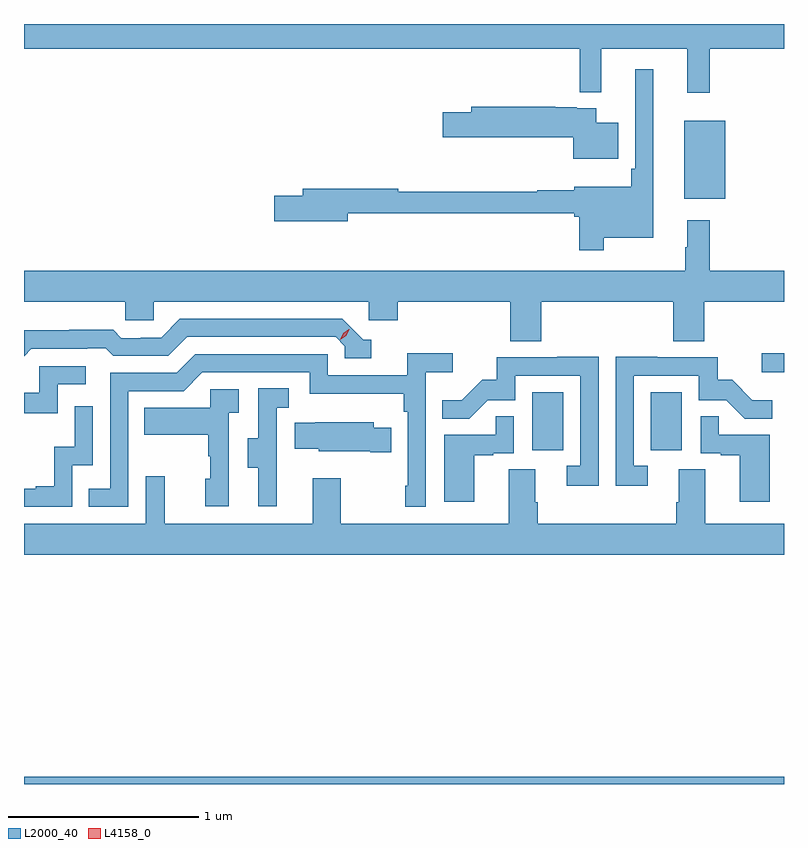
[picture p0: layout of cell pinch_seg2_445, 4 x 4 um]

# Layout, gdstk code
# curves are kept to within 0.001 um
import gdstk
lib = gdstk.Library(unit=1e-6, precision=1e-09)
def R(c, l, rs):  # rectangles x0, y0, x1, y1
    for r in rs: c.add(gdstk.rectangle(r[:2], r[2:], *l))
def P(c, l, *ps):  # polygons
    for p in ps: c.add(gdstk.Polygon(p, *l))
L2000_40 = (2000, 40)
L4158_0 = (4158, 0)

pinch_seg2_445 = lib.new_cell('pinch_seg2_445')
R(pinch_seg2_445, L2000_40, [(949.677,615.794,953.677,615.832), (952.352,617.55,952.516,617.857), (952.976,617.55,953.14,617.857), (953.559,617.96,953.677,618.062), (953.153,618.875,953.368,619.285)])
P(pinch_seg2_445, L2000_40, [(953.285,619.664),(953.677,619.664),(953.677,619.794),(949.677,619.794),(949.677,619.664),(952.601,619.664),(952.601,619.436),(952.715,619.436),(952.715,619.664),(953.168,619.664),(953.168,619.431),(953.285,619.431)],
  [(952.729,618.668),(952.99,618.668),(952.99,619.555),(952.893,619.555),(952.893,619.033),(952.873,619.033),(952.873,618.937),(952.574,618.937),(952.574,618.919),(952.378,618.919),(952.378,618.911),(951.647,618.911),(951.647,618.926),(951.143,618.926),(951.143,618.89),(950.994,618.89),(950.994,618.755),(951.382,618.755),(951.382,618.798),(952.574,618.798),(952.574,618.779),(952.6,618.779),(952.6,618.603),(952.729,618.603)],
  [(952.804,619.273),(952.69,619.273),(952.69,619.351),(952.586,619.351),(952.586,619.356),(952.472,619.356),(952.472,619.359),(952.031,619.359),(952.031,619.329),(951.882,619.329),(951.882,619.199),(952.568,619.199),(952.568,619.085),(952.804,619.085)],
  [(952.4,618.332),(953.093,618.332),(953.093,618.124),(953.258,618.124),(953.258,618.332),(953.677,618.332),(953.677,618.496),(953.285,618.496),(953.285,618.76),(953.168,618.76),(953.168,618.62),(953.157,618.62),(953.157,618.496),(949.677,618.496),(949.677,618.332),(950.211,618.332),(950.211,618.234),(950.361,618.234),(950.361,618.332),(951.492,618.332),(951.492,618.234),(951.644,618.234),(951.644,618.332),(952.235,618.332),(952.235,618.124),(952.4,618.124)],
  [(951.505,618.132),(951.462,618.132),(951.351,618.243),(950.498,618.243),(950.399,618.144),(950.292,618.144),(950.292,618.141),(950.189,618.141),(950.147,618.184),(949.914,618.184),(949.914,618.181),(949.678,618.181),(949.677,618.045),(949.716,618.084),(950.009,618.084),(950.009,618.087),(950.108,618.087),(950.147,618.048),(950.436,618.048),(950.535,618.147),(951.318,618.147),(951.366,618.099),(951.366,618.036),(951.505,618.036)],
  [(950.226,617.862),(950.517,617.862),(950.616,617.961),(951.18,617.961),(951.18,617.849),(951.676,617.849),(951.676,617.753),(951.696,617.753),(951.696,617.365),(951.684,617.365),(951.684,617.253),(951.792,617.253),(951.792,617.96),(951.934,617.96),(951.934,618.062),(951.695,618.062),(951.695,617.946),(951.276,617.946),(951.276,618.057),(950.579,618.057),(950.48,617.958),(950.13,617.958),(950.13,617.349),(950.017,617.349),(950.017,617.253),(950.226,617.253)],
  [(952.701,618.044),(952.483,618.044),(952.483,618.039),(952.165,618.039),(952.165,617.922),(952.088,617.922),(951.981,617.815),(951.877,617.815),(951.877,617.716),(952.021,617.716),(952.119,617.814),(952.263,617.814),(952.263,617.943),(952.605,617.943),(952.605,617.469),(952.533,617.469),(952.533,617.364),(952.701,617.364)],
  [(952.96,617.469),(952.887,617.469),(952.887,617.943),(953.229,617.943),(953.229,617.814),(953.373,617.814),(953.471,617.716),(953.615,617.716),(953.615,617.815),(953.511,617.815),(953.404,617.922),(953.328,617.922),(953.328,618.039),(953.009,618.039),(953.009,618.044),(952.791,618.044),(952.791,617.364),(952.96,617.364)],
  [(949.854,617.898),(950.002,617.898),(950.002,617.994),(949.758,617.994),(949.758,617.853),(949.677,617.853),(949.677,617.745),(949.854,617.745)],
  [(951.008,617.469),(951.006,617.469),(951.006,617.773),(951.07,617.773),(951.07,617.876),(950.91,617.876),(950.91,617.613),(950.855,617.613),(950.855,617.458),(950.909,617.458),(950.909,617.256),(951.008,617.256)],
  [(950.754,617.747),(950.806,617.747),(950.806,617.871),(950.658,617.871),(950.658,617.773),(950.311,617.773),(950.311,617.633),(950.646,617.633),(950.646,617.519),(950.656,617.519),(950.656,617.4),(950.63,617.4),(950.63,617.256),(950.754,617.256)],
  [(949.932,617.472),(950.04,617.472),(950.04,617.782),(949.944,617.782),(949.944,617.57),(949.835,617.57),(949.835,617.362),(949.739,617.362),(949.739,617.349),(949.677,617.349),(949.677,617.253),(949.932,617.253)],
  [(952.048,617.523),(952.148,617.523),(952.148,617.535),(952.254,617.535),(952.254,617.729),(952.159,617.729),(952.159,617.631),(951.89,617.631),(951.89,617.28),(952.048,617.28)],
  [(953.602,617.631),(953.333,617.631),(953.333,617.729),(953.238,617.729),(953.238,617.535),(953.345,617.535),(953.345,617.523),(953.444,617.523),(953.444,617.28),(953.602,617.28)],
  [(951.611,617.668),(951.517,617.668),(951.517,617.698),(951.211,617.698),(951.211,617.695),(951.103,617.695),(951.103,617.558),(951.228,617.558),(951.228,617.546),(951.5,617.546),(951.5,617.539),(951.611,617.539)],
  [(953.677,617.164),(953.263,617.164),(953.263,617.45),(953.123,617.45),(953.123,617.276),(953.111,617.276),(953.111,617.164),(952.382,617.164),(952.382,617.276),(952.369,617.276),(952.369,617.45),(952.229,617.45),(952.229,617.164),(951.345,617.164),(951.345,617.404),(951.197,617.404),(951.197,617.164),(950.417,617.164),(950.417,617.413),(950.319,617.413),(950.319,617.164),(949.677,617.164),(949.677,617),(953.677,617)])
P(pinch_seg2_445, L4158_0, [(951.341,618.133),(951.341,618.134),(951.357,618.166),(951.387,618.187),(951.388,618.187),(951.388,618.186),(951.372,618.153),(951.342,618.133)])

lib.write_gds('pinch_seg2_445.gds')
